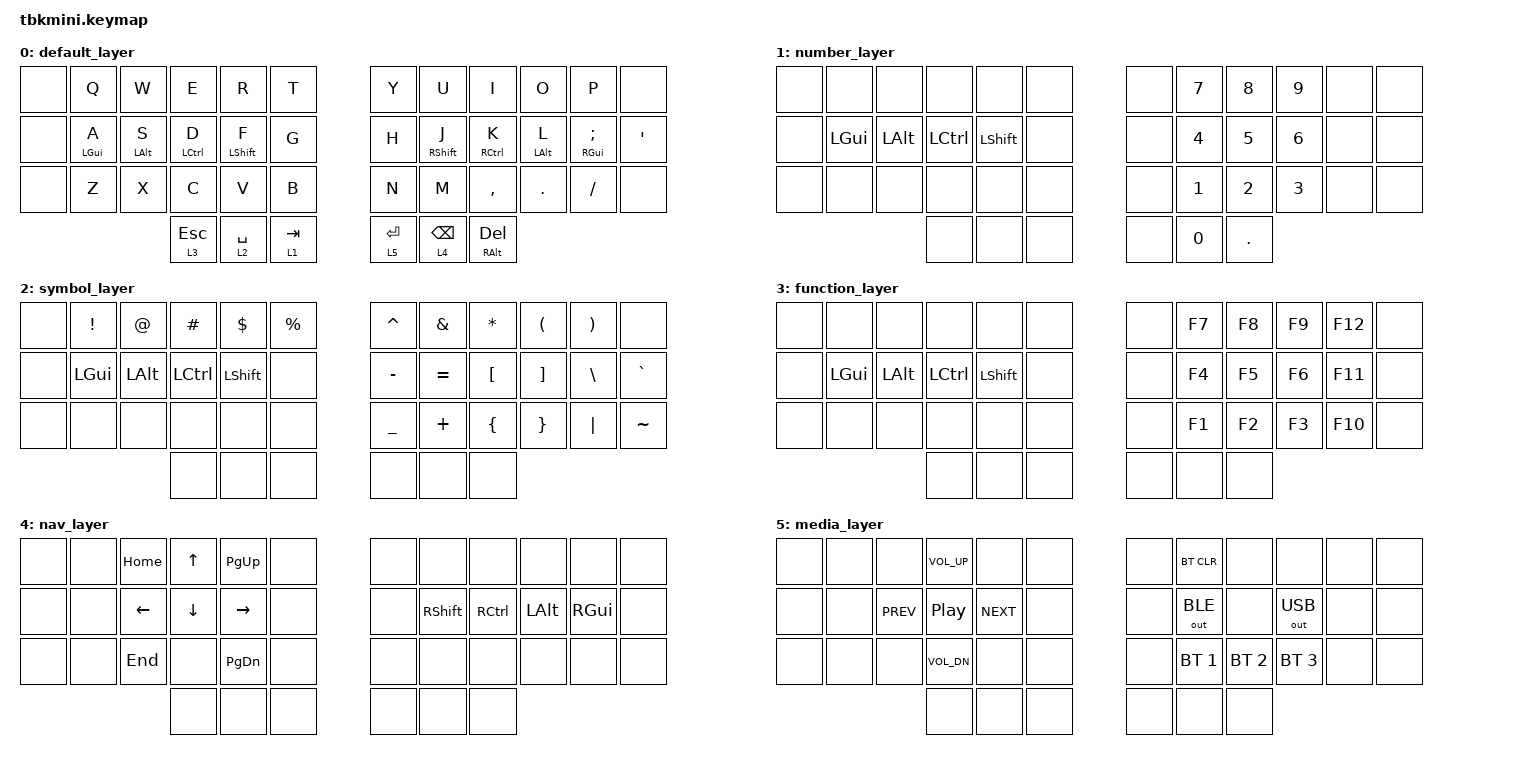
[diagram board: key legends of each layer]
/*
 * Copyright (c) 2021 Casey Webster
 *
 * SPDX-License-Identifier: MIT
 */

#include <behaviors.dtsi>
#include <dt-bindings/zmk/bt.h>
#include <dt-bindings/zmk/keys.h>
#include <dt-bindings/zmk/outputs.h>

&mt { flavor = "balanced"; };

/ {
    keymap {
        compatible = "zmk,keymap";

        default_layer {
            // ---------------------------------------------------------------------------------------------------------------------------------
            // |  ESC  |  Q  |  W  |  F   |  P   |  B   |    |  J   |  L   |  U  |  Y  |  '  |   \  |
            // |  TAB  |  A  |  R  |  S   |  T   |  G   |    |  M   |  N   |  E  |  I  |  O  |   '  |
            // | SHIFT |  Z  |  X  |  C   |  D   |  V   |    |  K   |  H   |  ,  |  .  |  /  | CTRL |
            //                     | ESC  | SPC  | TAB  |    | RET  | BSPC | DEL |

            bindings = <
&none  &kp Q           &kp W           &kp E        &kp R             &kp T        &kp Y      &kp U              &kp I              &kp O           &kp P                    &none
&none  &mt LEFT_GUI A  &mt LEFT_ALT S  &mt LCTRL D  &mt LEFT_SHIFT F  &kp G        &kp H      &mt RIGHT_SHIFT J  &mt RCTRL K        &mt LEFT_ALT L  &mt RIGHT_GUI SEMICOLON  &kp SQT
&none  &kp Z           &kp X           &kp C        &kp V             &kp B        &kp N      &kp M              &kp COMMA          &kp DOT         &kp FSLH                 &none
                                       &lt 3 ESC    &lt 2 SPACE       &lt 1 TAB    &lt 5 RET  &lt 4 BSPC         &mt RIGHT_ALT DEL
            >;
        };

        number_layer {
            bindings = <
&none  &none         &none         &none      &none           &none    &none  &kp N7  &kp N8   &kp N9  &none  &none
&none  &kp LEFT_GUI  &kp LEFT_ALT  &kp LCTRL  &kp LEFT_SHIFT  &none    &none  &kp N4  &kp N5   &kp N6  &none  &none
&none  &none         &none         &none      &none           &none    &none  &kp N1  &kp N2   &kp N3  &none  &none
                                   &none      &none           &none    &none  &kp N0  &kp DOT
            >;
        };

        symbol_layer {
            bindings = <
&none  &kp EXCLAMATION  &kp AT_SIGN   &kp HASH   &kp DOLLAR      &kp PERCENT    &kp CARET       &kp AMPERSAND  &kp ASTERISK    &kp LEFT_PARENTHESIS  &kp RIGHT_PARENTHESIS  &none
&none  &kp LEFT_GUI     &kp LEFT_ALT  &kp LCTRL  &kp LEFT_SHIFT  &none          &kp MINUS       &kp EQUAL      &kp LBKT        &kp RBKT              &kp BACKSLASH          &kp GRAVE
&none  &none            &none         &none      &none           &none          &kp UNDERSCORE  &kp PLUS       &kp LEFT_BRACE  &kp RIGHT_BRACE       &kp PIPE               &kp TILDE
                                      &none      &none           &none          &none           &none          &none
            >;
        };

        function_layer {
            bindings = <
&none  &none         &none         &none      &none           &none    &none  &kp F7  &kp F8  &kp F9  &kp F12  &none
&none  &kp LEFT_GUI  &kp LEFT_ALT  &kp LCTRL  &kp LEFT_SHIFT  &none    &none  &kp F4  &kp F5  &kp F6  &kp F11  &none
&none  &none         &none         &none      &none           &none    &none  &kp F1  &kp F2  &kp F3  &kp F10  &none
                                   &none      &none           &none    &none  &none   &none
            >;
        };

        nav_layer {
            bindings = <
&none  &none  &kp HOME  &kp UP    &kp PAGE_UP    &none    &none  &none            &none      &none         &none          &none
&none  &none  &kp LEFT  &kp DOWN  &kp RIGHT      &none    &none  &kp RIGHT_SHIFT  &kp RCTRL  &kp LEFT_ALT  &kp RIGHT_GUI  &none
&none  &none  &kp END   &none     &kp PAGE_DOWN  &none    &none  &none            &none      &none         &none          &none
                        &none     &none          &none    &none  &none            &none
            >;
        };

        media_layer {
            bindings = <
&none  &none  &none       &kp C_VOL_UP  &none       &none    &none  &bt BT_CLR    &none         &none         &none  &none
&none  &none  &kp C_PREV  &kp C_PP      &kp C_NEXT  &none    &none  &out OUT_BLE  &none         &out OUT_USB  &none  &none
&none  &none  &none       &kp C_VOL_DN  &none       &none    &none  &bt BT_SEL 1  &bt BT_SEL 2  &bt BT_SEL 3  &none  &none
                          &none         &none       &none    &none  &none         &none
            >;
        };
    };
};
